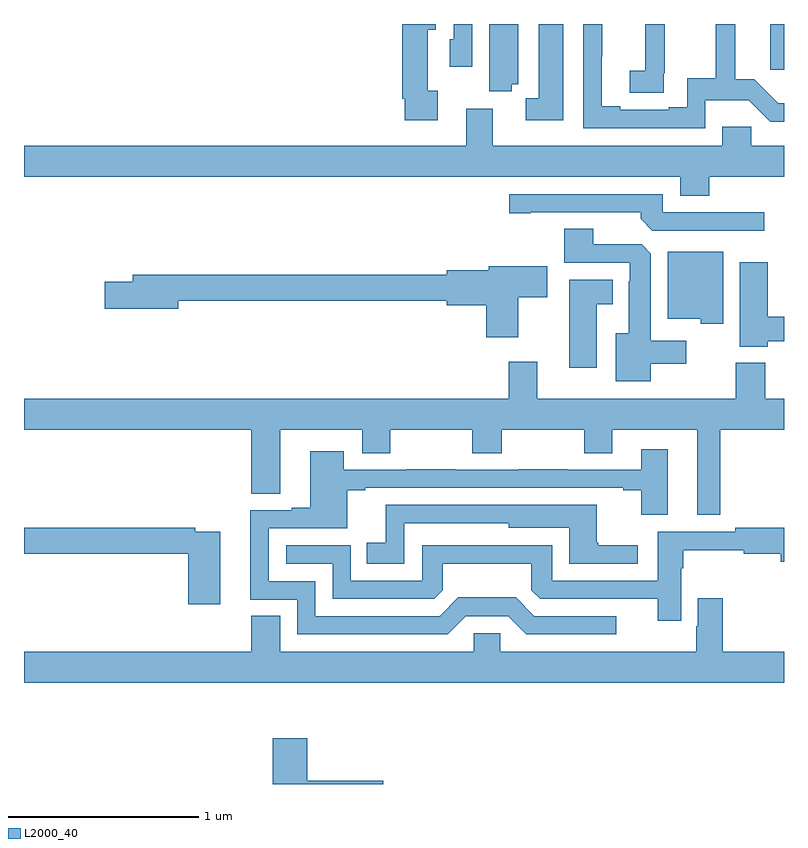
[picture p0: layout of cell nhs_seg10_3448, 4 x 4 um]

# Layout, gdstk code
import gdstk
lib = gdstk.Library(unit=1e-6, precision=1e-09)
def R(c, l, rs):  # rectangles x0, y0, x1, y1
    for r in rs: c.add(gdstk.rectangle(r[:2], r[2:], *l))
def P(c, l, *ps):  # polygons
    for p in ps: c.add(gdstk.Polygon(p, *l))
L2000_40 = (2000, 40)

nhs_seg10_3448 = lib.new_cell('nhs_seg10_3448')
R(nhs_seg10_3448, L2000_40, [(302.927,1254.26,303,1254.5)])
P(nhs_seg10_3448, L2000_40, [(301.568,1254.182),(301.6,1254.182),(301.6,1254.5),(301.448,1254.5),(301.448,1254.145),(301.568,1254.145)],
  [(301.837,1254.5),(301.709,1254.5),(301.709,1254.108),(301.641,1254.108),(301.641,1253.993),(301.837,1253.993)],
  [(301.177,1254.15),(301.126,1254.15),(301.126,1254.47),(301.168,1254.47),(301.168,1254.5),(300.992,1254.5),(300.992,1254.106),(301.004,1254.106),(301.004,1253.994),(301.177,1253.994)],
  [(302.586,1254.098),(302.815,1254.098),(302.928,1253.985),(303,1253.985),(303,1254.082),(302.969,1254.082),(302.843,1254.208),(302.744,1254.208),(302.744,1254.5),(302.641,1254.5),(302.641,1254.215),(302.49,1254.215),(302.49,1254.062),(302.393,1254.062),(302.393,1254.048),(302.137,1254.048),(302.137,1254.068),(302.041,1254.068),(302.041,1254.331),(302.043,1254.331),(302.043,1254.5),(301.944,1254.5),(301.944,1253.952),(302.586,1253.952)],
  [(302.366,1254.241),(302.372,1254.241),(302.372,1254.5),(302.269,1254.5),(302.269,1254.254),(302.187,1254.254),(302.187,1254.139),(302.366,1254.139)],
  [(301.359,1254.5),(301.263,1254.5),(301.263,1254.42),(301.242,1254.42),(301.242,1254.276),(301.359,1254.276)],
  [(302.606,1253.696),(303,1253.696),(303,1253.86),(302.827,1253.86),(302.827,1253.958),(302.675,1253.958),(302.675,1253.86),(301.468,1253.86),(301.468,1254.055),(301.328,1254.055),(301.328,1253.86),(299,1253.86),(299,1253.696),(302.453,1253.696),(302.453,1253.597),(302.606,1253.597)],
  [(302.896,1253.508),(302.361,1253.508),(302.361,1253.604),(301.554,1253.604),(301.554,1253.503),(301.666,1253.503),(301.666,1253.508),(302.246,1253.508),(302.246,1253.474),(302.307,1253.412),(302.896,1253.412)],
  [(302.299,1252.712),(302.485,1252.712),(302.485,1252.834),(302.299,1252.834),(302.299,1253.291),(302.25,1253.34),(301.996,1253.34),(301.996,1253.423),(301.844,1253.423),(301.844,1253.244),(302.187,1253.244),(302.187,1253.147),(302.183,1253.147),(302.183,1252.873),(302.114,1252.873),(302.114,1252.619),(302.299,1252.619)],
  [(302.68,1253.302),(302.387,1253.302),(302.387,1252.949),(302.562,1252.949),(302.562,1252.922),(302.68,1252.922)],
  [(302.915,1252.83),(303,1252.83),(303,1252.958),(302.915,1252.958),(302.915,1253.245),(302.768,1253.245),(302.768,1252.802),(302.915,1252.802)],
  [(301.6,1253.062),(301.753,1253.062),(301.753,1253.224),(301.445,1253.224),(301.445,1253.204),(301.226,1253.204),(301.226,1253.18),(299.573,1253.18),(299.573,1253.144),(299.424,1253.144),(299.424,1253.002),(299.812,1253.002),(299.812,1253.044),(301.226,1253.044),(301.226,1253.021),(301.433,1253.021),(301.433,1252.851),(301.6,1252.851)],
  [(302.014,1253.024),(302.098,1253.024),(302.098,1253.155),(301.871,1253.155),(301.871,1252.692),(302.014,1252.692)],
  [(302.665,1252.364),(303,1252.364),(303,1252.528),(302.9,1252.528),(302.9,1252.717),(302.747,1252.717),(302.747,1252.528),(301.702,1252.528),(301.702,1252.723),(301.55,1252.723),(301.55,1252.528),(299,1252.528),(299,1252.364),(300.197,1252.364),(300.197,1252.027),(300.349,1252.027),(300.349,1252.364),(300.779,1252.364),(300.779,1252.24),(300.927,1252.24),(300.927,1252.364),(301.36,1252.364),(301.36,1252.24),(301.515,1252.24),(301.515,1252.364),(301.948,1252.364),(301.948,1252.24),(302.095,1252.24),(302.095,1252.364),(302.543,1252.364),(302.543,1251.918),(302.665,1251.918)],
  [(301.326,1251.384),(301.548,1251.384),(301.644,1251.288),(302.116,1251.288),(302.116,1251.384),(301.686,1251.384),(301.589,1251.482),(301.286,1251.482),(301.188,1251.384),(300.534,1251.384),(300.534,1251.567),(300.288,1251.567),(300.288,1251.846),(300.7,1251.846),(300.7,1252.047),(300.796,1252.047),(300.796,1252.059),(302.153,1252.059),(302.153,1252.047),(302.249,1252.047),(302.249,1251.918),(302.389,1251.918),(302.389,1252.261),(302.249,1252.261),(302.249,1252.155),(301.859,1252.155),(301.859,1252.157),(301.603,1252.157),(301.603,1252.155),(301.271,1252.155),(301.271,1252.157),(301.015,1252.157),(301.015,1252.155),(300.682,1252.155),(300.682,1252.252),(300.506,1252.252),(300.506,1251.955),(300.41,1251.955),(300.41,1251.942),(300.191,1251.942),(300.191,1251.471),(300.438,1251.471),(300.438,1251.288),(301.23,1251.288)],
  [(301.002,1251.873),(301.551,1251.873),(301.551,1251.848),(301.871,1251.848),(301.871,1251.66),(302.23,1251.66),(302.23,1251.757),(302.022,1251.757),(302.022,1251.769),(302.014,1251.769),(302.014,1251.97),(301.651,1251.97),(301.651,1251.969),(300.905,1251.969),(300.905,1251.769),(300.805,1251.769),(300.805,1251.66),(301.002,1251.66)],
  [(300.034,1251.828),(299.9,1251.828),(299.9,1251.848),(299,1251.848),(299,1251.712),(299.864,1251.712),(299.864,1251.447),(300.034,1251.447)],
  [(302.458,1251.635),(302.471,1251.635),(302.471,1251.73),(302.788,1251.73),(302.788,1251.712),(302.984,1251.712),(302.984,1251.67),(303,1251.67),(303,1251.848),(302.743,1251.848),(302.743,1251.828),(302.336,1251.828),(302.336,1251.57),(301.779,1251.57),(301.779,1251.756),(301.095,1251.756),(301.095,1251.57),(300.72,1251.57),(300.72,1251.756),(300.381,1251.756),(300.381,1251.66),(300.624,1251.66),(300.624,1251.474),(301.158,1251.474),(301.203,1251.519),(301.203,1251.659),(301.671,1251.659),(301.671,1251.519),(301.716,1251.474),(302.336,1251.474),(302.336,1251.36),(302.458,1251.36)],
  [(303,1251.196),(302.678,1251.196),(302.678,1251.478),(302.546,1251.478),(302.546,1251.329),(302.539,1251.329),(302.539,1251.196),(301.506,1251.196),(301.506,1251.294),(301.368,1251.294),(301.368,1251.196),(300.349,1251.196),(300.349,1251.386),(300.197,1251.386),(300.197,1251.196),(299,1251.196),(299,1251.032),(303,1251.032)],
  [(300.892,1250.516),(300.491,1250.516),(300.491,1250.74),(300.308,1250.74),(300.308,1250.5),(300.892,1250.5)])

lib.write_gds('nhs_seg10_3448.gds')
